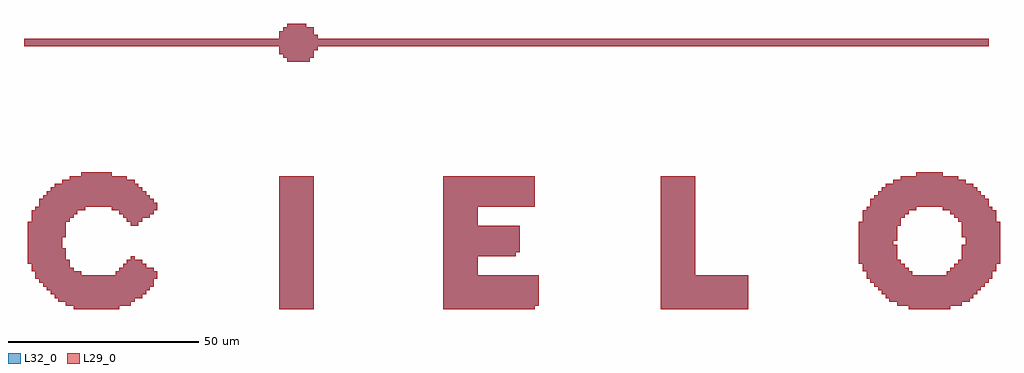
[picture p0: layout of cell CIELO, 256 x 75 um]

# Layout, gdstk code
import gdstk
lib = gdstk.Library(unit=1e-6, precision=1e-09)
def R(c, l, rs):  # rectangles x0, y0, x1, y1
    for r in rs: c.add(gdstk.rectangle(r[:2], r[2:], *l))
def P(c, l, *ps):  # polygons
    for p in ps: c.add(gdstk.Polygon(p, *l))
L29_0 = (29, 0)
L32_0 = (32, 0)

cielo = lib.new_cell('CIELO')
R(cielo, L29_0, [(-61,-37.5,-52,-2.5)])
P(cielo, L29_0, [(-18,-37.5),(-18,-2.5),(6,-2.5),(6,-10.5),(-9,-10.5),(-9,-15.5),(2,-15.5),(2,-22.5),(1,-22.5),(1,-23.5),(-9,-23.5),(-9,-28.5),(7,-28.5),(7,-36.5),(6,-36.5),(6,-37.5)],
  [(39,-37.5),(39,-2.5),(48,-2.5),(48,-28.5),(62,-28.5),(62,-37.5)],
  [(-115,-37.5),(-115,-36.5),(-117,-36.5),(-117,-35.5),(-119,-35.5),(-119,-34.5),(-120,-34.5),(-120,-33.5),(-121,-33.5),(-121,-32.5),(-122,-32.5),(-122,-31.5),(-123,-31.5),(-123,-30.5),(-124,-30.5),(-124,-29.5),(-125,-29.5),(-125,-27.5),(-126,-27.5),(-126,-25.5),(-127,-25.5),(-127,-14.5),(-126,-14.5),(-126,-11.5),(-125,-11.5),(-125,-10.5),(-124,-10.5),(-124,-8.5),(-123,-8.5),(-123,-7.5),(-122,-7.5),(-122,-6.5),(-121,-6.5),(-121,-5.5),(-120,-5.5),(-120,-4.5),(-118,-4.5),(-118,-3.5),(-116,-3.5),(-116,-2.5),(-113,-2.5),(-113,-1.5),(-105,-1.5),(-105,-2.5),(-101,-2.5),(-101,-3.5),(-99,-3.5),(-99,-4.5),(-98,-4.5),(-98,-5.5),(-97,-5.5),(-97,-6.5),(-96,-6.5),(-96,-7.5),(-95,-7.5),(-95,-8.5),(-94,-8.5),(-94,-9.5),(-93,-9.5),(-93,-11.5),(-94,-11.5),(-94,-12.5),(-95,-12.5),(-95,-13.5),(-97,-13.5),(-97,-14.5),(-98,-14.5),(-98,-15.5),(-100,-15.5),(-100,-14.5),(-101,-14.5),(-101,-13.5),(-102,-13.5),(-102,-12.5),(-103,-12.5),(-103,-11.5),(-105,-11.5),(-105,-10.5),(-112,-10.5),(-112,-11.5),(-114,-11.5),(-114,-12.5),(-115,-12.5),(-115,-13.5),(-116,-13.5),(-116,-14.5),(-117,-14.5),(-117,-18.5),(-118,-18.5),(-118,-21.5),(-117,-21.5),(-117,-24.5),(-116,-24.5),(-116,-26.5),(-115,-26.5),(-115,-27.5),(-113,-27.5),(-113,-28.5),(-104,-28.5),(-104,-27.5),(-103,-27.5),(-103,-26.5),(-102,-26.5),(-102,-25.5),(-101,-25.5),(-101,-24.5),(-100,-24.5),(-100,-23.5),(-99,-23.5),(-99,-24.5),(-97,-24.5),(-97,-25.5),(-96,-25.5),(-96,-26.5),(-94,-26.5),(-94,-27.5),(-93,-27.5),(-93,-29.5),(-94,-29.5),(-94,-31.5),(-95,-31.5),(-95,-32.5),(-96,-32.5),(-96,-33.5),(-97,-33.5),(-97,-34.5),(-99,-34.5),(-99,-35.5),(-100,-35.5),(-100,-36.5),(-103,-36.5),(-103,-37.5)],
  [(104,-37.5),(104,-36.5),(101,-36.5),(101,-35.5),(99,-35.5),(99,-34.5),(98,-34.5),(98,-33.5),(97,-33.5),(97,-32.5),(96,-32.5),(96,-31.5),(95,-31.5),(95,-30.5),(94,-30.5),(94,-29.5),(93,-29.5),(93,-27.5),(92,-27.5),(92,-25.5),(91,-25.5),(91,-14.5),(92,-14.5),(92,-11.5),(93,-11.5),(93,-10.5),(106,-10.5),(106,-11.5),(104,-11.5),(104,-12.5),(103,-12.5),(103,-13.5),(102,-13.5),(102,-15.5),(101,-15.5),(101,-19.5),(100,-19.5),(100,-20.5),(101,-20.5),(101,-24.5),(102,-24.5),(102,-25.5),(103,-25.5),(103,-26.5),(104,-26.5),(104,-27.5),(105,-27.5),(105,-28.5),(114,-28.5),(114,-27.5),(115,-27.5),(115,-26.5),(116,-26.5),(116,-25.5),(117,-25.5),(117,-24.5),(118,-24.5),(118,-20.5),(119,-20.5),(119,-18.5),(118,-18.5),(118,-14.5),(117,-14.5),(117,-13.5),(116,-13.5),(116,-12.5),(115,-12.5),(115,-11.5),(113,-11.5),(113,-10.5),(94,-10.5),(94,-8.5),(95,-8.5),(95,-7.5),(96,-7.5),(96,-6.5),(97,-6.5),(97,-5.5),(98,-5.5),(98,-4.5),(100,-4.5),(100,-3.5),(102,-3.5),(102,-2.5),(106,-2.5),(106,-1.5),(113,-1.5),(113,-2.5),(117,-2.5),(117,-3.5),(119,-3.5),(119,-4.5),(121,-4.5),(121,-5.5),(122,-5.5),(122,-6.5),(123,-6.5),(123,-7.5),(124,-7.5),(124,-8.5),(125,-8.5),(125,-10.5),(126,-10.5),(126,-11.5),(127,-11.5),(127,-14.5),(128,-14.5),(128,-25.5),(127,-25.5),(127,-27.5),(126,-27.5),(126,-29.5),(125,-29.5),(125,-30.5),(124,-30.5),(124,-31.5),(123,-31.5),(123,-32.5),(122,-32.5),(122,-33.5),(121,-33.5),(121,-34.5),(120,-34.5),(120,-35.5),(118,-35.5),(118,-36.5),(115,-36.5),(115,-37.5)],
  [(-59,27.5),(-59,28.5),(-60,28.5),(-60,29.5),(-61,29.5),(-61,31.5),(-128,31.5),(-128,33.5),(-61,33.5),(-61,35.5),(-60,35.5),(-60,36.5),(-59,36.5),(-59,37.5),(-54,37.5),(-54,36.5),(-52,36.5),(-52,34.5),(-51,34.5),(-51,33.5),(125,33.5),(125,31.5),(-51,31.5),(-51,30.5),(-52,30.5),(-52,28.5),(-53,28.5),(-53,27.5)])
R(cielo, L32_0, [(-61,-37.5,-52,-2.5)])
P(cielo, L32_0, [(-18,-37.5),(-18,-2.5),(6,-2.5),(6,-10.5),(-9,-10.5),(-9,-15.5),(2,-15.5),(2,-22.5),(1,-22.5),(1,-23.5),(-9,-23.5),(-9,-28.5),(7,-28.5),(7,-36.5),(6,-36.5),(6,-37.5)],
  [(39,-37.5),(39,-2.5),(48,-2.5),(48,-28.5),(62,-28.5),(62,-37.5)],
  [(-115,-37.5),(-115,-36.5),(-117,-36.5),(-117,-35.5),(-119,-35.5),(-119,-34.5),(-120,-34.5),(-120,-33.5),(-121,-33.5),(-121,-32.5),(-122,-32.5),(-122,-31.5),(-123,-31.5),(-123,-30.5),(-124,-30.5),(-124,-29.5),(-125,-29.5),(-125,-27.5),(-126,-27.5),(-126,-25.5),(-127,-25.5),(-127,-14.5),(-126,-14.5),(-126,-11.5),(-125,-11.5),(-125,-10.5),(-124,-10.5),(-124,-8.5),(-123,-8.5),(-123,-7.5),(-122,-7.5),(-122,-6.5),(-121,-6.5),(-121,-5.5),(-120,-5.5),(-120,-4.5),(-118,-4.5),(-118,-3.5),(-116,-3.5),(-116,-2.5),(-113,-2.5),(-113,-1.5),(-105,-1.5),(-105,-2.5),(-101,-2.5),(-101,-3.5),(-99,-3.5),(-99,-4.5),(-98,-4.5),(-98,-5.5),(-97,-5.5),(-97,-6.5),(-96,-6.5),(-96,-7.5),(-95,-7.5),(-95,-8.5),(-94,-8.5),(-94,-9.5),(-93,-9.5),(-93,-11.5),(-94,-11.5),(-94,-12.5),(-95,-12.5),(-95,-13.5),(-97,-13.5),(-97,-14.5),(-98,-14.5),(-98,-15.5),(-100,-15.5),(-100,-14.5),(-101,-14.5),(-101,-13.5),(-102,-13.5),(-102,-12.5),(-103,-12.5),(-103,-11.5),(-105,-11.5),(-105,-10.5),(-112,-10.5),(-112,-11.5),(-114,-11.5),(-114,-12.5),(-115,-12.5),(-115,-13.5),(-116,-13.5),(-116,-14.5),(-117,-14.5),(-117,-18.5),(-118,-18.5),(-118,-21.5),(-117,-21.5),(-117,-24.5),(-116,-24.5),(-116,-26.5),(-115,-26.5),(-115,-27.5),(-113,-27.5),(-113,-28.5),(-104,-28.5),(-104,-27.5),(-103,-27.5),(-103,-26.5),(-102,-26.5),(-102,-25.5),(-101,-25.5),(-101,-24.5),(-100,-24.5),(-100,-23.5),(-99,-23.5),(-99,-24.5),(-97,-24.5),(-97,-25.5),(-96,-25.5),(-96,-26.5),(-94,-26.5),(-94,-27.5),(-93,-27.5),(-93,-29.5),(-94,-29.5),(-94,-31.5),(-95,-31.5),(-95,-32.5),(-96,-32.5),(-96,-33.5),(-97,-33.5),(-97,-34.5),(-99,-34.5),(-99,-35.5),(-100,-35.5),(-100,-36.5),(-103,-36.5),(-103,-37.5)],
  [(104,-37.5),(104,-36.5),(101,-36.5),(101,-35.5),(99,-35.5),(99,-34.5),(98,-34.5),(98,-33.5),(97,-33.5),(97,-32.5),(96,-32.5),(96,-31.5),(95,-31.5),(95,-30.5),(94,-30.5),(94,-29.5),(93,-29.5),(93,-27.5),(92,-27.5),(92,-25.5),(91,-25.5),(91,-14.5),(92,-14.5),(92,-11.5),(93,-11.5),(93,-10.5),(106,-10.5),(106,-11.5),(104,-11.5),(104,-12.5),(103,-12.5),(103,-13.5),(102,-13.5),(102,-15.5),(101,-15.5),(101,-19.5),(100,-19.5),(100,-20.5),(101,-20.5),(101,-24.5),(102,-24.5),(102,-25.5),(103,-25.5),(103,-26.5),(104,-26.5),(104,-27.5),(105,-27.5),(105,-28.5),(114,-28.5),(114,-27.5),(115,-27.5),(115,-26.5),(116,-26.5),(116,-25.5),(117,-25.5),(117,-24.5),(118,-24.5),(118,-20.5),(119,-20.5),(119,-18.5),(118,-18.5),(118,-14.5),(117,-14.5),(117,-13.5),(116,-13.5),(116,-12.5),(115,-12.5),(115,-11.5),(113,-11.5),(113,-10.5),(94,-10.5),(94,-8.5),(95,-8.5),(95,-7.5),(96,-7.5),(96,-6.5),(97,-6.5),(97,-5.5),(98,-5.5),(98,-4.5),(100,-4.5),(100,-3.5),(102,-3.5),(102,-2.5),(106,-2.5),(106,-1.5),(113,-1.5),(113,-2.5),(117,-2.5),(117,-3.5),(119,-3.5),(119,-4.5),(121,-4.5),(121,-5.5),(122,-5.5),(122,-6.5),(123,-6.5),(123,-7.5),(124,-7.5),(124,-8.5),(125,-8.5),(125,-10.5),(126,-10.5),(126,-11.5),(127,-11.5),(127,-14.5),(128,-14.5),(128,-25.5),(127,-25.5),(127,-27.5),(126,-27.5),(126,-29.5),(125,-29.5),(125,-30.5),(124,-30.5),(124,-31.5),(123,-31.5),(123,-32.5),(122,-32.5),(122,-33.5),(121,-33.5),(121,-34.5),(120,-34.5),(120,-35.5),(118,-35.5),(118,-36.5),(115,-36.5),(115,-37.5)],
  [(-59,27.5),(-59,28.5),(-60,28.5),(-60,29.5),(-61,29.5),(-61,31.5),(-128,31.5),(-128,33.5),(-61,33.5),(-61,35.5),(-60,35.5),(-60,36.5),(-59,36.5),(-59,37.5),(-54,37.5),(-54,36.5),(-52,36.5),(-52,34.5),(-51,34.5),(-51,33.5),(125,33.5),(125,31.5),(-51,31.5),(-51,30.5),(-52,30.5),(-52,28.5),(-53,28.5),(-53,27.5)])

lib.write_gds('CIELO.gds')
